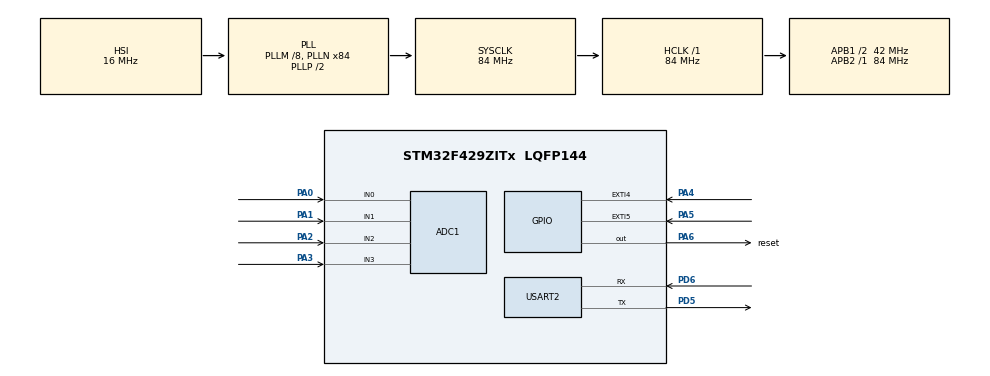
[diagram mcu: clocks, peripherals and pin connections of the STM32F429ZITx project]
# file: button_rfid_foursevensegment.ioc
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ADC1.Channel-0\#ChannelRegularConversion=ADC_CHANNEL_0
ADC1.Channel-1\#ChannelRegularConversion=ADC_CHANNEL_1
ADC1.Channel-2\#ChannelRegularConversion=ADC_CHANNEL_2
ADC1.Channel-3\#ChannelRegularConversion=ADC_CHANNEL_3
ADC1.ContinuousConvMode=ENABLE
ADC1.DMAContinuousRequests=ENABLE
ADC1.EnableAnalogWatchDog=false
ADC1.InjNumberOfConversion=0
ADC1.NbrOfConversion=4
ADC1.NbrOfConversionFlag=1
ADC1.Rank-0\#ChannelRegularConversion=1
ADC1.Rank-1\#ChannelRegularConversion=2
ADC1.Rank-2\#ChannelRegularConversion=3
ADC1.Rank-3\#ChannelRegularConversion=4
ADC1.SamplingTime-0\#ChannelRegularConversion=ADC_SAMPLETIME_3CYCLES
ADC1.SamplingTime-1\#ChannelRegularConversion=ADC_SAMPLETIME_3CYCLES
ADC1.SamplingTime-2\#ChannelRegularConversion=ADC_SAMPLETIME_3CYCLES
ADC1.SamplingTime-3\#ChannelRegularConversion=ADC_SAMPLETIME_3CYCLES
ADC1.ScanConvMode=ENABLE
ADC1.master=1
Dma.ADC1.0.Direction=DMA_PERIPH_TO_MEMORY
Dma.ADC1.0.FIFOMode=DMA_FIFOMODE_DISABLE
Dma.ADC1.0.Instance=DMA2_Stream0
Dma.ADC1.0.MemDataAlignment=DMA_MDATAALIGN_HALFWORD
Dma.ADC1.0.MemInc=DMA_MINC_ENABLE
Dma.ADC1.0.Mode=DMA_CIRCULAR
Dma.ADC1.0.PeriphDataAlignment=DMA_PDATAALIGN_HALFWORD
Dma.ADC1.0.PeriphInc=DMA_PINC_DISABLE
Dma.ADC1.0.Priority=DMA_PRIORITY_VERY_HIGH
Dma.Request0=ADC1
Dma.Request1=USART2_TX
Dma.USART2_TX.1.Direction=DMA_MEMORY_TO_PERIPH
Dma.USART2_TX.1.FIFOMode=DMA_FIFOMODE_DISABLE
Dma.USART2_TX.1.Instance=DMA1_Stream6
Dma.USART2_TX.1.MemDataAlignment=DMA_MDATAALIGN_BYTE
Dma.USART2_TX.1.MemInc=DMA_MINC_ENABLE
Dma.USART2_TX.1.Mode=DMA_CIRCULAR
Dma.USART2_TX.1.PeriphDataAlignment=DMA_PDATAALIGN_BYTE
Dma.USART2_TX.1.PeriphInc=DMA_PINC_DISABLE
Dma.USART2_TX.1.Priority=DMA_PRIORITY_VERY_HIGH
Mcu.Family=STM32F4
Mcu.Name=STM32F429ZITx
Mcu.Package=LQFP144
NVIC.DMA1_Stream6_IRQn=true\:0\:0\:false\:false\:true\:false\:true\:true
NVIC.DMA2_Stream0_IRQn=true\:0\:0\:false\:false\:true\:false\:true\:true
NVIC.EXTI4_IRQn=true\:0\:0\:false\:false\:true\:true\:true\:true
NVIC.EXTI9_5_IRQn=true\:0\:0\:false\:false\:true\:true\:true\:true
NVIC.PriorityGroup=NVIC_PRIORITYGROUP_4
PA0/WKUP.Signal=ADCx_IN0
PA1.Signal=ADCx_IN1
PA13.Mode=Serial_Wire
PA13.Signal=SYS_JTMS-SWDIO
PA14.Mode=Serial_Wire
PA14.Signal=SYS_JTCK-SWCLK
PA2.Signal=ADCx_IN2
PA3.Signal=ADCx_IN3
PA4.GPIO_PuPd=GPIO_PULLUP
PA4.Signal=GPXTI4
PA5.GPIO_ModeDefaultEXTI=GPIO_MODE_IT_RISING
PA5.GPIO_PuPd=GPIO_PULLUP
PA5.Signal=GPXTI5
PA6.GPIO_Label=reset
PA6.Signal=GPIO_Output
PD5.Mode=Asynchronous
PD5.Signal=USART2_TX
PD6.Mode=Asynchronous
PD6.Signal=USART2_RX
PH0/OSC_IN.Mode=HSE-External-Oscillator
PH0/OSC_IN.Signal=RCC_OSC_IN
PH1/OSC_OUT.Mode=HSE-External-Oscillator
PH1/OSC_OUT.Signal=RCC_OSC_OUT
ProjectManager.HeapSize=0x200
ProjectManager.StackSize=0x400
ProjectManager.TargetToolchain=STM32CubeIDE
RCC.48MHZClocksFreq_Value=42000000
RCC.AHBFreq_Value=84000000
RCC.APB1CLKDivider=RCC_HCLK_DIV2
RCC.APB1Freq_Value=42000000
RCC.APB1TimFreq_Value=84000000
RCC.APB2Freq_Value=84000000
RCC.APB2TimFreq_Value=84000000
RCC.CortexFreq_Value=84000000
RCC.HCLKFreq_Value=84000000
RCC.HSE_VALUE=25000000
RCC.HSI_VALUE=16000000
RCC.LSE_VALUE=32768
RCC.PLLM=8
RCC.PLLN=84
RCC.SYSCLKFreq_VALUE=84000000
RCC.SYSCLKSource=RCC_SYSCLKSOURCE_PLLCLK
RCC.VCOOutputFreq_Value=168000000
SH.ADCx_IN0.0=ADC1_IN0,IN0
SH.ADCx_IN1.0=ADC1_IN1,IN1
SH.ADCx_IN2.0=ADC1_IN2,IN2
SH.ADCx_IN3.0=ADC1_IN3,IN3
USART2.VirtualMode=VM_ASYNC
board=custom

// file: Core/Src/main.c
/* USER CODE BEGIN Header */
/**
  ******************************************************************************
  * @file           : main.c
  * @brief          : Main program body
  ******************************************************************************
  * @attention
  *
  * Copyright (c) 2025 STMicroelectronics.
  * All rights reserved.
  *
  * This software is licensed under terms that can be found in the LICENSE file
  * in the root directory of this software component.
  * If no LICENSE file comes with this software, it is provided AS-IS.
  *
  ******************************************************************************
  */
/* USER CODE END Header */
#include "main.h"

ADC_HandleTypeDef hadc1;
DMA_HandleTypeDef hdma_adc1;

UART_HandleTypeDef huart2;
DMA_HandleTypeDef hdma_usart2_tx;

/* USER CODE BEGIN PV */

uint8_t status;
uint8_t str[64];
uint8_t sNum[5];

/* USER CODE END PV */

void SystemClock_Config(void);
static void MX_GPIO_Init(void);
static void MX_DMA_Init(void);
static void MX_ADC1_Init(void);
static void MX_USART2_UART_Init(void);

/* USER CODE BEGIN 0 */

#define  BSIZE             4
#define  TxControlReg   0x14

uint16_t button_direction[BSIZE];
uint16_t send_buffer[BSIZE];
uint8_t button_one = 0;
uint8_t button_two = 0;

void HAL_GPIO_EXTI_Callback(uint16_t GPIO_Pin) {
    if(GPIO_Pin == GPIO_PIN_4) {
    	button_one = 1;

    }
    else if(GPIO_Pin == GPIO_PIN_5) {
    	button_two = 1;
    }
}

void SystemClock_Config(void);
static void MX_GPIO_Init(void);
static void MX_DMA_Init(void);
static void MX_ADC1_Init(void);

uint8_t normalize_small(uint16_t val){
    if(val < 7) return 0;
    else if(val > 15) return 1;
    else return 2;
}

uint8_t normalize_large(uint16_t val){
    if(val < 200) return 0;
    else if(val > 400) return 1;
    else return 2;
}

void HAL_ADC_ConvCpltCallback (ADC_HandleTypeDef * hadc){

	 if (hadc->Instance == ADC1)
	    {
		 	 for(uint8_t i=0; i<BSIZE; i++){
		            if(i==0 || i==3){
		                button_direction[i] = normalize_large(button_direction[i]);
		            } else {
		                button_direction[i] = normalize_small(button_direction[i]);
		            }
		        }

		        int len = snprintf((char*)str, sizeof(str), "%d,%d,%d,%d\r\n",
		                           button_direction[0],
		                           button_direction[1],
		                           button_direction[2],
		                           button_direction[3]);

		        if(len > 0) {
		            HAL_UART_Transmit(&huart2, str, len, HAL_MAX_DELAY);  // veya DMA kullanabilirsin
		        }

	    }
}

/* USER CODE END 0 */

int main(void)
{

  /* MCU Configuration--------------------------------------------------------*/

  /* Reset of all peripherals, Initializes the Flash interface and the Systick. */
  HAL_Init();

  /* Configure the system clock */
  SystemClock_Config();

  /* Initialize all configured peripherals */
  MX_GPIO_Init();
  MX_DMA_Init();
  MX_ADC1_Init();
  MX_USART2_UART_Init();
  /* USER CODE BEGIN 2 */

  HAL_ADC_Start_DMA(&hadc1, (uint32_t*)button_direction, BSIZE);

  /* USER CODE END 2 */

  /* Infinite loop */
  while (1)
  {

  }
}

void SystemClock_Config(void)
{
  RCC_OscInitTypeDef RCC_OscInitStruct = {0};
  RCC_ClkInitTypeDef RCC_ClkInitStruct = {0};

  /** Configure the main internal regulator output voltage
  */
  __HAL_RCC_PWR_CLK_ENABLE();
  __HAL_PWR_VOLTAGESCALING_CONFIG(PWR_REGULATOR_VOLTAGE_SCALE3);

  /** Initializes the RCC Oscillators according to the specified parameters
  * in the RCC_OscInitTypeDef structure.
  */
  RCC_OscInitStruct.OscillatorType = RCC_OSCILLATORTYPE_HSI;
  RCC_OscInitStruct.HSIState = RCC_HSI_ON;
  RCC_OscInitStruct.HSICalibrationValue = RCC_HSICALIBRATION_DEFAULT;
  RCC_OscInitStruct.PLL.PLLState = RCC_PLL_ON;
  RCC_OscInitStruct.PLL.PLLSource = RCC_PLLSOURCE_HSI;
  RCC_OscInitStruct.PLL.PLLM = 8;
  RCC_OscInitStruct.PLL.PLLN = 84;
  RCC_OscInitStruct.PLL.PLLP = RCC_PLLP_DIV2;
  RCC_OscInitStruct.PLL.PLLQ = 4;
  if (HAL_RCC_OscConfig(&RCC_OscInitStruct) != HAL_OK)
  {
    Error_Handler();
  }

  /** Initializes the CPU, AHB and APB buses clocks
  */
  RCC_ClkInitStruct.ClockType = RCC_CLOCKTYPE_HCLK|RCC_CLOCKTYPE_SYSCLK
                              |RCC_CLOCKTYPE_PCLK1|RCC_CLOCKTYPE_PCLK2;
  RCC_ClkInitStruct.SYSCLKSource = RCC_SYSCLKSOURCE_PLLCLK;
  RCC_ClkInitStruct.AHBCLKDivider = RCC_SYSCLK_DIV1;
  RCC_ClkInitStruct.APB1CLKDivider = RCC_HCLK_DIV2;
  RCC_ClkInitStruct.APB2CLKDivider = RCC_HCLK_DIV1;

  if (HAL_RCC_ClockConfig(&RCC_ClkInitStruct, FLASH_LATENCY_2) != HAL_OK)
  {
    Error_Handler();
  }
}

static void MX_ADC1_Init(void)
{

  ADC_ChannelConfTypeDef sConfig = {0};

  /** Configure the global features of the ADC (Clock, Resolution, Data Alignment and number of conversion)
  */
  hadc1.Instance = ADC1;
  hadc1.Init.ClockPrescaler = ADC_CLOCK_SYNC_PCLK_DIV4;
  hadc1.Init.Resolution = ADC_RESOLUTION_12B;
  hadc1.Init.ScanConvMode = ENABLE;
  hadc1.Init.ContinuousConvMode = ENABLE;
  hadc1.Init.DiscontinuousConvMode = DISABLE;
  hadc1.Init.ExternalTrigConvEdge = ADC_EXTERNALTRIGCONVEDGE_NONE;
  hadc1.Init.ExternalTrigConv = ADC_SOFTWARE_START;
  hadc1.Init.DataAlign = ADC_DATAALIGN_RIGHT;
  hadc1.Init.NbrOfConversion = 4;
  hadc1.Init.DMAContinuousRequests = ENABLE;
  hadc1.Init.EOCSelection = ADC_EOC_SINGLE_CONV;
  if (HAL_ADC_Init(&hadc1) != HAL_OK)
  {
    Error_Handler();
  }

  /** Configure for the selected ADC regular channel its corresponding rank in the sequencer and its sample time.
  */
  sConfig.Channel = ADC_CHANNEL_0;
  sConfig.Rank = 1;
  sConfig.SamplingTime = ADC_SAMPLETIME_3CYCLES;
  if (HAL_ADC_ConfigChannel(&hadc1, &sConfig) != HAL_OK)
  {
    Error_Handler();
  }

  /** Configure for the selected ADC regular channel its corresponding rank in the sequencer and its sample time.
  */
  sConfig.Channel = ADC_CHANNEL_1;
  sConfig.Rank = 2;
  if (HAL_ADC_ConfigChannel(&hadc1, &sConfig) != HAL_OK)
  {
    Error_Handler();
  }

  /** Configure for the selected ADC regular channel its corresponding rank in the sequencer and its sample time.
  */
  sConfig.Channel = ADC_CHANNEL_2;
  sConfig.Rank = 3;
  if (HAL_ADC_ConfigChannel(&hadc1, &sConfig) != HAL_OK)
  {
    Error_Handler();
  }

  /** Configure for the selected ADC regular channel its corresponding rank in the sequencer and its sample time.
  */
  sConfig.Channel = ADC_CHANNEL_3;
  sConfig.Rank = 4;
  if (HAL_ADC_ConfigChannel(&hadc1, &sConfig) != HAL_OK)
  {
    Error_Handler();
  }

}

static void MX_USART2_UART_Init(void)
{

  huart2.Instance = USART2;
  huart2.Init.BaudRate = 115200;
  huart2.Init.WordLength = UART_WORDLENGTH_8B;
  huart2.Init.StopBits = UART_STOPBITS_1;
  huart2.Init.Parity = UART_PARITY_NONE;
  huart2.Init.Mode = UART_MODE_TX_RX;
  huart2.Init.HwFlowCtl = UART_HWCONTROL_NONE;
  huart2.Init.OverSampling = UART_OVERSAMPLING_16;
  if (HAL_UART_Init(&huart2) != HAL_OK)
  {
    Error_Handler();
  }

}

static void MX_DMA_Init(void)
{

  /* DMA controller clock enable */
  __HAL_RCC_DMA2_CLK_ENABLE();
  __HAL_RCC_DMA1_CLK_ENABLE();

  /* DMA interrupt init */
  /* DMA1_Stream6_IRQn interrupt configuration */
  HAL_NVIC_SetPriority(DMA1_Stream6_IRQn, 0, 0);
  HAL_NVIC_EnableIRQ(DMA1_Stream6_IRQn);
  /* DMA2_Stream0_IRQn interrupt configuration */
  HAL_NVIC_SetPriority(DMA2_Stream0_IRQn, 0, 0);
  HAL_NVIC_EnableIRQ(DMA2_Stream0_IRQn);

}

static void MX_GPIO_Init(void)
{
  GPIO_InitTypeDef GPIO_InitStruct = {0};

  /* GPIO Ports Clock Enable */
  __HAL_RCC_GPIOH_CLK_ENABLE();
  __HAL_RCC_GPIOA_CLK_ENABLE();
  __HAL_RCC_GPIOD_CLK_ENABLE();

  /*Configure GPIO pin Output Level */
  HAL_GPIO_WritePin(reset_GPIO_Port, reset_Pin, GPIO_PIN_RESET);

  /*Configure GPIO pins : PA4 PA5 */
  GPIO_InitStruct.Pin = GPIO_PIN_4|GPIO_PIN_5;
  GPIO_InitStruct.Mode = GPIO_MODE_IT_RISING;
  GPIO_InitStruct.Pull = GPIO_PULLUP;
  HAL_GPIO_Init(GPIOA, &GPIO_InitStruct);

  /*Configure GPIO pin : reset_Pin */
  GPIO_InitStruct.Pin = reset_Pin;
  GPIO_InitStruct.Mode = GPIO_MODE_OUTPUT_PP;
  GPIO_InitStruct.Pull = GPIO_NOPULL;
  GPIO_InitStruct.Speed = GPIO_SPEED_FREQ_LOW;
  HAL_GPIO_Init(reset_GPIO_Port, &GPIO_InitStruct);

  /* EXTI interrupt init*/
  HAL_NVIC_SetPriority(EXTI4_IRQn, 0, 0);
  HAL_NVIC_EnableIRQ(EXTI4_IRQn);

  HAL_NVIC_SetPriority(EXTI9_5_IRQn, 0, 0);
  HAL_NVIC_EnableIRQ(EXTI9_5_IRQn);

}

void Error_Handler(void)
{
  __disable_irq();
  while (1)
  {
  }
}
